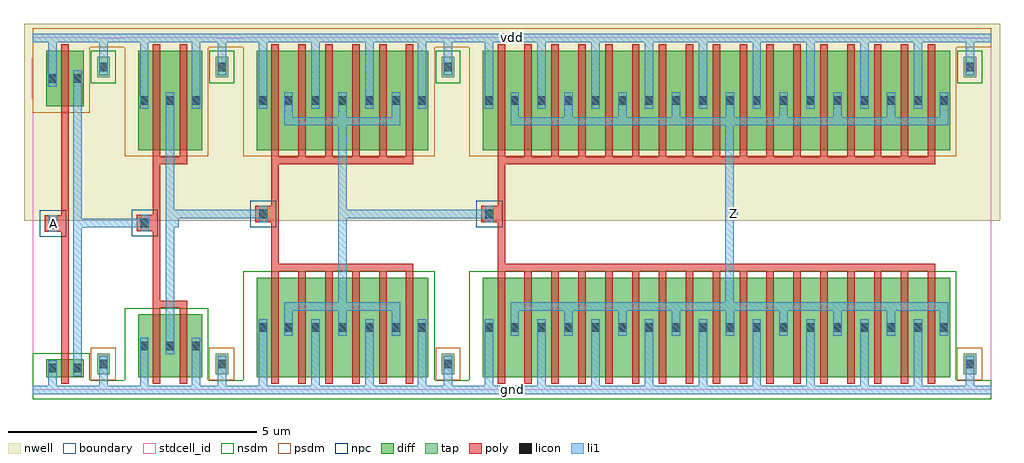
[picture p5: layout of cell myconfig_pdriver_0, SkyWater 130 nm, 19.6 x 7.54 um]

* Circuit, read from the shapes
.subckt myconfig_pdriver_0 A Z gnd vdd
XM1 myconfig_pinv_5_1/A A gnd gnd sky130_fd_pr__nfet_01v8 w=0.36 l=0.15
XM2 myconfig_pinv_6_2/A myconfig_pinv_5_1/A gnd gnd sky130_fd_pr__nfet_01v8 w=1.26 l=0.15 m=2
XM3 myconfig_pinv_7_3/A myconfig_pinv_6_2/A gnd gnd sky130_fd_pr__nfet_01v8 w=2 l=0.15 m=6
XM4 Z myconfig_pinv_7_3/A gnd gnd sky130_fd_pr__nfet_01v8 w=2 l=0.15 m=17
XM5 myconfig_pinv_5_1/A A vdd vdd sky130_fd_pr__pfet_01v8 w=1.12 l=0.15
XM6 myconfig_pinv_6_2/A myconfig_pinv_5_1/A vdd vdd sky130_fd_pr__pfet_01v8 w=2 l=0.15 m=2
XM7 myconfig_pinv_7_3/A myconfig_pinv_6_2/A vdd vdd sky130_fd_pr__pfet_01v8 w=2 l=0.15 m=6
XM8 Z myconfig_pinv_7_3/A vdd vdd sky130_fd_pr__pfet_01v8 w=2 l=0.15 m=17
.ends

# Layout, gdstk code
import gdstk
lib = gdstk.Library(unit=1e-6, precision=1e-09)
def R(c, l, rs):  # rectangles x0, y0, x1, y1
    for r in rs: c.add(gdstk.rectangle(r[:2], r[2:], *l))
def A(c, l, x, y, w, h, nx, ny, dx, dy):  # array of equal rectangles
    R(c, l, [(x+i*dx, y+j*dy, x+i*dx+w, y+j*dy+h) for i in range(nx) for j in range(ny)])
nwell = (64, 20)
diff = (65, 20)
tap = (65, 44)
poly = (66, 20)
licon = (66, 44)
li1 = (67, 20)
stdcell_id = (81, 4)
nsdm = (93, 44)
psdm = (94, 20)
npc = (95, 20)
boundary = (235, 4)

myconfig_contact_11 = lib.new_cell('myconfig_contact_11')
R(myconfig_contact_11, nwell, [(-0.295,-0.255,0.545,0.585)])
R(myconfig_contact_11, diff, [(0,0.02,0.25,0.31)])
R(myconfig_contact_11, licon, [(0.04,0.08,0.21,0.25)])
R(myconfig_contact_11, li1, [(0.04,0,0.21,0.33)])
R(myconfig_contact_11, stdcell_id, [(-0.295,-0.255,0.545,0.585)])
R(myconfig_contact_11, psdm, [(-0.125,-0.105,0.375,0.435)])
R(myconfig_contact_11, boundary, [(-0.295,-0.255,0.545,0.585)])

myconfig_pmos_m1_w1_120_ = lib.new_cell('myconfig_pmos_m1_w1_120_sli_dli_da_p')
R(myconfig_pmos_m1_w1_120_, nwell, [(-0.27,-0.27,1.02,1.39)])
R(myconfig_pmos_m1_w1_120_, diff, [(0,0,0.75,1.12)])
R(myconfig_pmos_m1_w1_120_, poly, [(0.3,-0.13,0.45,1.25), (0.3,-0.13,0.45,1.25)])
R(myconfig_pmos_m1_w1_120_, li1, [(0.04,0.395,0.21,0.725), (0.54,0.395,0.71,0.725)])
R(myconfig_pmos_m1_w1_120_, stdcell_id, [(-0.27,-0.27,1.02,1.39)])
R(myconfig_pmos_m1_w1_120_, psdm, [(-0.125,-0.125,0.875,1.245)])
R(myconfig_pmos_m1_w1_120_, boundary, [(-0.27,-0.27,1.02,1.39)])
myconfig_pmos_m1_w1_120_.add(gdstk.Reference(myconfig_contact_11, (0,0.395)))
myconfig_pmos_m1_w1_120_.add(gdstk.Reference(myconfig_contact_11, (0.5,0.395)))
myconfig_pmos_m1_w1_120_.add(gdstk.Label('G', (0.375,0.56), layer=66, texttype=5))
myconfig_pmos_m1_w1_120_.add(gdstk.Label('S', (0.125,0.56), layer=67, texttype=5))
myconfig_pmos_m1_w1_120_.add(gdstk.Label('D', (0.625,0.56), layer=67, texttype=5))

myconfig_contact_10 = lib.new_cell('myconfig_contact_10')
R(myconfig_contact_10, diff, [(0,0.02,0.25,0.31)])
R(myconfig_contact_10, licon, [(0.04,0.08,0.21,0.25)])
R(myconfig_contact_10, li1, [(0.04,0,0.21,0.33)])
R(myconfig_contact_10, stdcell_id, [(-0.125,-0.105,0.375,0.435)])
R(myconfig_contact_10, nsdm, [(-0.125,-0.105,0.375,0.435)])
R(myconfig_contact_10, boundary, [(-0.125,-0.105,0.375,0.435)])

myconfig_nmos_m1_w0_360_ = lib.new_cell('myconfig_nmos_m1_w0_360_sli_dli_da_p')
R(myconfig_nmos_m1_w0_360_, diff, [(0,0,0.75,0.36)])
R(myconfig_nmos_m1_w0_360_, poly, [(0.3,-0.13,0.45,0.49), (0.3,-0.13,0.45,0.49)])
R(myconfig_nmos_m1_w0_360_, li1, [(0.04,0.015,0.21,0.345), (0.54,0.015,0.71,0.345)])
R(myconfig_nmos_m1_w0_360_, stdcell_id, [(-0.125,-0.13,0.875,0.49)])
R(myconfig_nmos_m1_w0_360_, nsdm, [(-0.125,-0.125,0.875,0.485)])
R(myconfig_nmos_m1_w0_360_, boundary, [(-0.125,-0.13,0.875,0.49)])
myconfig_nmos_m1_w0_360_.add(gdstk.Reference(myconfig_contact_10, (0,0.015)))
myconfig_nmos_m1_w0_360_.add(gdstk.Reference(myconfig_contact_10, (0.5,0.015)))
myconfig_nmos_m1_w0_360_.add(gdstk.Label('G', (0.375,0.18), layer=66, texttype=5))
myconfig_nmos_m1_w0_360_.add(gdstk.Label('S', (0.125,0.18), layer=67, texttype=5))
myconfig_nmos_m1_w0_360_.add(gdstk.Label('D', (0.625,0.18), layer=67, texttype=5))

myconfig_contact_28 = lib.new_cell('myconfig_contact_28')
R(myconfig_contact_28, nwell, [(-0.295,-0.215,0.545,0.625)])
R(myconfig_contact_28, tap, [(0,0,0.25,0.41)])
R(myconfig_contact_28, licon, [(0.04,0.12,0.21,0.29)])
R(myconfig_contact_28, li1, [(0.04,0.04,0.21,0.37)])
R(myconfig_contact_28, stdcell_id, [(-0.295,-0.215,0.545,0.625)])
R(myconfig_contact_28, nsdm, [(-0.125,-0.125,0.375,0.535)])
R(myconfig_contact_28, boundary, [(-0.295,-0.215,0.545,0.625)])

myconfig_contact_29 = lib.new_cell('myconfig_contact_29')
R(myconfig_contact_29, tap, [(0,0,0.25,0.41)])
R(myconfig_contact_29, licon, [(0.04,0.12,0.21,0.29)])
R(myconfig_contact_29, li1, [(0.04,0.04,0.21,0.37)])
R(myconfig_contact_29, stdcell_id, [(-0.125,-0.125,0.375,0.535)])
R(myconfig_contact_29, psdm, [(-0.125,-0.125,0.375,0.535)])
R(myconfig_contact_29, boundary, [(-0.125,-0.125,0.375,0.535)])

myconfig_contact_15 = lib.new_cell('myconfig_contact_15')
R(myconfig_contact_15, poly, [(0,0,0.33,0.33)])
R(myconfig_contact_15, licon, [(0.08,0.08,0.25,0.25)])
R(myconfig_contact_15, li1, [(0.08,0,0.25,0.33)])
R(myconfig_contact_15, stdcell_id, [(-0.1,-0.1,0.43,0.43)])
R(myconfig_contact_15, npc, [(-0.1,-0.1,0.43,0.43)])
R(myconfig_contact_15, boundary, [(-0.1,-0.1,0.43,0.43)])

myconfig_pinv_4 = lib.new_cell('myconfig_pinv_4')
R(myconfig_pinv_4, nwell, [(-0.18,3.395,2.02,7.355)])
R(myconfig_pinv_4, poly, [(0.57,0.745,0.72,5.565), (0.405,3.18,0.57,3.51)])
R(myconfig_pinv_4, li1, [(0,-0.085,1.84,0.085), (0.31,-0.085,0.48,0.27), (1.33,0,1.5,0.52), (0.81,0.27,0.98,6.42), (0.32,3.18,0.49,3.51), (0.895,3.26,1.065,3.43), (0.31,6.09,0.48,7.155), (1.33,6.485,1.5,7.07), (0,6.985,1.84,7.155)])
R(myconfig_pinv_4, stdcell_id, [(0,0,1.84,7.07), (0,0,1.84,7.07)])
R(myconfig_pinv_4, nsdm, [(0,-0.19,1.84,0.19), (0,0,1.145,0.74)])
R(myconfig_pinv_4, psdm, [(0,5.57,1.145,7.07), (0,6.88,1.84,7.26)])
R(myconfig_pinv_4, boundary, [(0,0,1.84,7.07), (0,0,1.84,7.07)])
myconfig_pinv_4.add(gdstk.Reference(myconfig_pmos_m1_w1_120_, (0.27,5.695)))
myconfig_pinv_4.add(gdstk.Reference(myconfig_nmos_m1_w0_360_, (0.27,0.255)))
myconfig_pinv_4.add(gdstk.Reference(myconfig_contact_28, (1.29,6.28)))
myconfig_pinv_4.add(gdstk.Reference(myconfig_contact_29, (1.29,0.315)))
myconfig_pinv_4.add(gdstk.Reference(myconfig_contact_15, (0.24,3.18)))
myconfig_pinv_4.add(gdstk.Label('A', (0.405,3.345), layer=67, texttype=5))
myconfig_pinv_4.add(gdstk.Label('Z', (0.98,3.345), layer=67, texttype=5))
myconfig_pinv_4.add(gdstk.Label('gnd', (0.92,0), layer=67, texttype=5))
myconfig_pinv_4.add(gdstk.Label('vdd', (0.92,7.07), layer=67, texttype=5))

myconfig_pmos_m2_w2_000_ = lib.new_cell('myconfig_pmos_m2_w2_000_sli_dli_da_p')
R(myconfig_pmos_m2_w2_000_, nwell, [(-0.27,-0.27,1.56,2.27)])
R(myconfig_pmos_m2_w2_000_, diff, [(0,0,1.29,2)])
R(myconfig_pmos_m2_w2_000_, poly, [(0.3,-0.28,0.99,-0.13), (0.3,-0.13,0.45,2.13), (0.84,-0.13,0.99,2.13)])
A(myconfig_pmos_m2_w2_000_, li1, 0.04, 0.835, 0.17, 0.33, 3, 1, 0.52, 0)
R(myconfig_pmos_m2_w2_000_, stdcell_id, [(-0.27,-0.28,1.56,2.27)])
R(myconfig_pmos_m2_w2_000_, psdm, [(-0.125,-0.125,1.415,2.125)])
R(myconfig_pmos_m2_w2_000_, boundary, [(-0.27,-0.28,1.56,2.27)])
myconfig_pmos_m2_w2_000_.add(gdstk.Reference(myconfig_contact_11, (0,0.835)))
myconfig_pmos_m2_w2_000_.add(gdstk.Reference(myconfig_contact_11, (0.52,0.835)))
myconfig_pmos_m2_w2_000_.add(gdstk.Reference(myconfig_contact_11, (1.04,0.835)))
myconfig_pmos_m2_w2_000_.add(gdstk.Label('G', (0.645,-0.205), layer=66, texttype=5))
myconfig_pmos_m2_w2_000_.add(gdstk.Label('S', (0.125,1), layer=67, texttype=5))
myconfig_pmos_m2_w2_000_.add(gdstk.Label('S', (1.165,1), layer=67, texttype=5))
myconfig_pmos_m2_w2_000_.add(gdstk.Label('D', (0.645,1), layer=67, texttype=5))

myconfig_nmos_m2_w1_260_ = lib.new_cell('myconfig_nmos_m2_w1_260_sli_dli_da_p')
R(myconfig_nmos_m2_w1_260_, diff, [(0,0,1.29,1.26)])
R(myconfig_nmos_m2_w1_260_, poly, [(0.3,-0.13,0.45,1.39), (0.84,-0.13,0.99,1.39), (0.3,1.39,0.99,1.54)])
A(myconfig_nmos_m2_w1_260_, li1, 0.04, 0.465, 0.17, 0.33, 3, 1, 0.52, 0)
R(myconfig_nmos_m2_w1_260_, stdcell_id, [(-0.125,-0.13,1.415,1.54)])
R(myconfig_nmos_m2_w1_260_, nsdm, [(-0.125,-0.125,1.415,1.385)])
R(myconfig_nmos_m2_w1_260_, boundary, [(-0.125,-0.13,1.415,1.54)])
myconfig_nmos_m2_w1_260_.add(gdstk.Reference(myconfig_contact_10, (0,0.465)))
myconfig_nmos_m2_w1_260_.add(gdstk.Reference(myconfig_contact_10, (0.52,0.465)))
myconfig_nmos_m2_w1_260_.add(gdstk.Reference(myconfig_contact_10, (1.04,0.465)))
myconfig_nmos_m2_w1_260_.add(gdstk.Label('G', (0.645,1.465), layer=66, texttype=5))
myconfig_nmos_m2_w1_260_.add(gdstk.Label('S', (1.165,0.63), layer=67, texttype=5))
myconfig_nmos_m2_w1_260_.add(gdstk.Label('S', (0.125,0.63), layer=67, texttype=5))
myconfig_nmos_m2_w1_260_.add(gdstk.Label('D', (0.645,0.63), layer=67, texttype=5))

myconfig_pinv_5 = lib.new_cell('myconfig_pinv_5')
R(myconfig_pinv_5, nwell, [(-0.18,3.395,2.56,7.355)])
R(myconfig_pinv_5, poly, [(0.57,1.795,0.72,4.535), (0.405,3.185,0.57,3.515)])
R(myconfig_pinv_5, li1, [(0,-0.085,2.38,0.085), (0.31,-0.085,0.48,0.72), (1.35,-0.085,1.52,0.72), (1.87,0,2.04,0.52), (0.83,0.72,1,5.98), (0.32,3.185,0.49,3.515), (0.915,3.265,1.085,3.435), (0.31,5.65,0.48,7.155), (1.35,5.65,1.52,7.155), (1.87,6.485,2.04,7.07), (0,6.985,2.38,7.155)])
R(myconfig_pinv_5, stdcell_id, [(0,0,2.38,7.07), (0,0,2.38,7.07)])
R(myconfig_pinv_5, nsdm, [(0,-0.19,2.38,0.19), (0,0,1.685,1.64)])
R(myconfig_pinv_5, psdm, [(0,4.69,1.685,7.07), (0,6.88,2.38,7.26)])
R(myconfig_pinv_5, boundary, [(0,0,2.38,7.07), (0,0,2.38,7.07)])
myconfig_pinv_5.add(gdstk.Reference(myconfig_pmos_m2_w2_000_, (0.27,4.815)))
myconfig_pinv_5.add(gdstk.Reference(myconfig_nmos_m2_w1_260_, (0.27,0.255)))
myconfig_pinv_5.add(gdstk.Reference(myconfig_contact_28, (1.83,6.28)))
myconfig_pinv_5.add(gdstk.Reference(myconfig_contact_29, (1.83,0.315)))
myconfig_pinv_5.add(gdstk.Reference(myconfig_contact_15, (0.24,3.185)))
myconfig_pinv_5.add(gdstk.Label('A', (0.405,3.35), layer=67, texttype=5))
myconfig_pinv_5.add(gdstk.Label('Z', (1,3.35), layer=67, texttype=5))
myconfig_pinv_5.add(gdstk.Label('gnd', (1.19,0), layer=67, texttype=5))
myconfig_pinv_5.add(gdstk.Label('vdd', (1.19,7.07), layer=67, texttype=5))

myconfig_pmos_m6_w2_000_ = lib.new_cell('myconfig_pmos_m6_w2_000_sli_dli_da_p')
R(myconfig_pmos_m6_w2_000_, nwell, [(-0.27,-0.27,3.72,2.27)])
R(myconfig_pmos_m6_w2_000_, diff, [(0,0,3.45,2)])
A(myconfig_pmos_m6_w2_000_, poly, 0.3, -0.13, 0.15, 2.26, 6, 1, 0.54, 0)
R(myconfig_pmos_m6_w2_000_, poly, [(0.3,-0.28,3.15,-0.13)])
A(myconfig_pmos_m6_w2_000_, li1, 0.56, 0.58, 0.17, 0.42, 3, 1, 1.08, 0)
R(myconfig_pmos_m6_w2_000_, li1, [(0.56,0.495,2.89,0.665), (0.04,0.835,0.21,1.165), (1.1,0.835,1.27,1.165), (2.18,0.835,2.35,1.165), (3.24,0.835,3.41,1.165)])
R(myconfig_pmos_m6_w2_000_, stdcell_id, [(-0.27,-0.28,3.72,2.27)])
R(myconfig_pmos_m6_w2_000_, psdm, [(-0.125,-0.125,3.575,2.125)])
R(myconfig_pmos_m6_w2_000_, boundary, [(-0.27,-0.28,3.72,2.27)])
myconfig_pmos_m6_w2_000_.add(gdstk.Reference(myconfig_contact_11, (0,0.835)))
myconfig_pmos_m6_w2_000_.add(gdstk.Reference(myconfig_contact_11, (0.52,0.835)))
myconfig_pmos_m6_w2_000_.add(gdstk.Reference(myconfig_contact_11, (1.06,0.835)))
myconfig_pmos_m6_w2_000_.add(gdstk.Reference(myconfig_contact_11, (1.6,0.835)))
myconfig_pmos_m6_w2_000_.add(gdstk.Reference(myconfig_contact_11, (2.14,0.835)))
myconfig_pmos_m6_w2_000_.add(gdstk.Reference(myconfig_contact_11, (2.68,0.835)))
myconfig_pmos_m6_w2_000_.add(gdstk.Reference(myconfig_contact_11, (3.2,0.835)))
myconfig_pmos_m6_w2_000_.add(gdstk.Label('G', (1.725,-0.205), layer=66, texttype=5))
myconfig_pmos_m6_w2_000_.add(gdstk.Label('S', (3.325,1), layer=67, texttype=5))
myconfig_pmos_m6_w2_000_.add(gdstk.Label('S', (0.125,1), layer=67, texttype=5))
myconfig_pmos_m6_w2_000_.add(gdstk.Label('S', (2.265,1), layer=67, texttype=5))
myconfig_pmos_m6_w2_000_.add(gdstk.Label('S', (1.185,1), layer=67, texttype=5))
myconfig_pmos_m6_w2_000_.add(gdstk.Label('D', (1.725,0.58), layer=67, texttype=5))

myconfig_nmos_m6_w2_000_ = lib.new_cell('myconfig_nmos_m6_w2_000_sli_dli_da_p')
R(myconfig_nmos_m6_w2_000_, diff, [(0,0,3.45,2)])
A(myconfig_nmos_m6_w2_000_, poly, 0.3, -0.13, 0.15, 2.26, 6, 1, 0.54, 0)
R(myconfig_nmos_m6_w2_000_, poly, [(0.3,2.13,3.15,2.28)])
A(myconfig_nmos_m6_w2_000_, li1, 0.56, 1, 0.17, 0.42, 3, 1, 1.08, 0)
R(myconfig_nmos_m6_w2_000_, li1, [(0.04,0.835,0.21,1.165), (1.1,0.835,1.27,1.165), (2.18,0.835,2.35,1.165), (3.24,0.835,3.41,1.165), (0.56,1.335,2.89,1.505)])
R(myconfig_nmos_m6_w2_000_, stdcell_id, [(-0.125,-0.13,3.575,2.28)])
R(myconfig_nmos_m6_w2_000_, nsdm, [(-0.125,-0.125,3.575,2.125)])
R(myconfig_nmos_m6_w2_000_, boundary, [(-0.125,-0.13,3.575,2.28)])
myconfig_nmos_m6_w2_000_.add(gdstk.Reference(myconfig_contact_10, (0,0.835)))
myconfig_nmos_m6_w2_000_.add(gdstk.Reference(myconfig_contact_10, (0.52,0.835)))
myconfig_nmos_m6_w2_000_.add(gdstk.Reference(myconfig_contact_10, (1.06,0.835)))
myconfig_nmos_m6_w2_000_.add(gdstk.Reference(myconfig_contact_10, (1.6,0.835)))
myconfig_nmos_m6_w2_000_.add(gdstk.Reference(myconfig_contact_10, (2.14,0.835)))
myconfig_nmos_m6_w2_000_.add(gdstk.Reference(myconfig_contact_10, (2.68,0.835)))
myconfig_nmos_m6_w2_000_.add(gdstk.Reference(myconfig_contact_10, (3.2,0.835)))
myconfig_nmos_m6_w2_000_.add(gdstk.Label('G', (1.725,2.205), layer=66, texttype=5))
myconfig_nmos_m6_w2_000_.add(gdstk.Label('S', (3.325,1), layer=67, texttype=5))
myconfig_nmos_m6_w2_000_.add(gdstk.Label('S', (0.125,1), layer=67, texttype=5))
myconfig_nmos_m6_w2_000_.add(gdstk.Label('S', (2.265,1), layer=67, texttype=5))
myconfig_nmos_m6_w2_000_.add(gdstk.Label('S', (1.185,1), layer=67, texttype=5))
myconfig_nmos_m6_w2_000_.add(gdstk.Label('D', (1.725,1.42), layer=67, texttype=5))

myconfig_pinv_6 = lib.new_cell('myconfig_pinv_6')
R(myconfig_pinv_6, nwell, [(-0.18,3.395,4.72,7.355)])
R(myconfig_pinv_6, poly, [(0.57,2.535,0.72,4.535), (0.405,3.37,0.57,3.7)])
R(myconfig_pinv_6, li1, [(0,-0.085,4.54,0.085), (0.31,-0.085,0.48,1.09), (1.37,-0.085,1.54,1.09), (2.45,-0.085,2.62,1.09), (3.51,-0.085,3.68,1.09), (4.03,0,4.2,0.52), (1.91,1.59,2.08,5.48), (0.32,3.37,0.49,3.7), (1.995,3.45,2.165,3.62), (0.31,5.65,0.48,7.155), (1.37,5.65,1.54,7.155), (2.45,5.65,2.62,7.155), (3.51,5.65,3.68,7.155), (4.03,6.485,4.2,7.07), (0,6.985,4.54,7.155)])
R(myconfig_pinv_6, stdcell_id, [(0,0,4.54,7.07), (0,0,4.54,7.07)])
R(myconfig_pinv_6, nsdm, [(0,-0.19,4.54,0.19), (0,0,3.845,2.38)])
R(myconfig_pinv_6, psdm, [(0,4.69,3.845,7.07), (0,6.88,4.54,7.26)])
R(myconfig_pinv_6, boundary, [(0,0,4.54,7.07), (0,0,4.54,7.07)])
myconfig_pinv_6.add(gdstk.Reference(myconfig_pmos_m6_w2_000_, (0.27,4.815)))
myconfig_pinv_6.add(gdstk.Reference(myconfig_nmos_m6_w2_000_, (0.27,0.255)))
myconfig_pinv_6.add(gdstk.Reference(myconfig_contact_28, (3.99,6.28)))
myconfig_pinv_6.add(gdstk.Reference(myconfig_contact_29, (3.99,0.315)))
myconfig_pinv_6.add(gdstk.Reference(myconfig_contact_15, (0.24,3.37)))
myconfig_pinv_6.add(gdstk.Label('A', (0.405,3.535), layer=67, texttype=5))
myconfig_pinv_6.add(gdstk.Label('Z', (2.08,3.535), layer=67, texttype=5))
myconfig_pinv_6.add(gdstk.Label('gnd', (2.27,0), layer=67, texttype=5))
myconfig_pinv_6.add(gdstk.Label('vdd', (2.27,7.07), layer=67, texttype=5))

myconfig_pmos_m17_w2_000 = lib.new_cell('myconfig_pmos_m17_w2_000_sli_dli_da_p')
R(myconfig_pmos_m17_w2_000, nwell, [(-0.27,-0.27,9.66,2.27)])
R(myconfig_pmos_m17_w2_000, diff, [(0,0,9.39,2)])
A(myconfig_pmos_m17_w2_000, poly, 0.3, -0.13, 0.15, 2.26, 17, 1, 0.54, 0)
R(myconfig_pmos_m17_w2_000, poly, [(0.3,-0.28,9.09,-0.13)])
A(myconfig_pmos_m17_w2_000, li1, 0.56, 0.58, 0.17, 0.42, 8, 1, 1.08, 0)
A(myconfig_pmos_m17_w2_000, li1, 1.1, 0.835, 0.17, 0.33, 8, 1, 1.08, 0)
R(myconfig_pmos_m17_w2_000, li1, [(0.56,0.495,9.35,0.665), (9.18,0.58,9.35,1), (0.04,0.835,0.21,1.165)])
R(myconfig_pmos_m17_w2_000, stdcell_id, [(-0.27,-0.28,9.66,2.27)])
R(myconfig_pmos_m17_w2_000, psdm, [(-0.125,-0.125,9.515,2.125)])
R(myconfig_pmos_m17_w2_000, boundary, [(-0.27,-0.28,9.66,2.27)])
myconfig_pmos_m17_w2_000.add(gdstk.Reference(myconfig_contact_11, (0,0.835)))
myconfig_pmos_m17_w2_000.add(gdstk.Reference(myconfig_contact_11, (0.52,0.835)))
myconfig_pmos_m17_w2_000.add(gdstk.Reference(myconfig_contact_11, (1.06,0.835)))
myconfig_pmos_m17_w2_000.add(gdstk.Reference(myconfig_contact_11, (1.6,0.835)))
myconfig_pmos_m17_w2_000.add(gdstk.Reference(myconfig_contact_11, (2.14,0.835)))
myconfig_pmos_m17_w2_000.add(gdstk.Reference(myconfig_contact_11, (2.68,0.835)))
myconfig_pmos_m17_w2_000.add(gdstk.Reference(myconfig_contact_11, (3.22,0.835)))
myconfig_pmos_m17_w2_000.add(gdstk.Reference(myconfig_contact_11, (3.76,0.835)))
myconfig_pmos_m17_w2_000.add(gdstk.Reference(myconfig_contact_11, (4.3,0.835)))
myconfig_pmos_m17_w2_000.add(gdstk.Reference(myconfig_contact_11, (4.84,0.835)))
myconfig_pmos_m17_w2_000.add(gdstk.Reference(myconfig_contact_11, (5.38,0.835)))
myconfig_pmos_m17_w2_000.add(gdstk.Reference(myconfig_contact_11, (5.92,0.835)))
myconfig_pmos_m17_w2_000.add(gdstk.Reference(myconfig_contact_11, (6.46,0.835)))
myconfig_pmos_m17_w2_000.add(gdstk.Reference(myconfig_contact_11, (7,0.835)))
myconfig_pmos_m17_w2_000.add(gdstk.Reference(myconfig_contact_11, (7.54,0.835)))
myconfig_pmos_m17_w2_000.add(gdstk.Reference(myconfig_contact_11, (8.08,0.835)))
myconfig_pmos_m17_w2_000.add(gdstk.Reference(myconfig_contact_11, (8.62,0.835)))
myconfig_pmos_m17_w2_000.add(gdstk.Reference(myconfig_contact_11, (9.14,0.835)))
myconfig_pmos_m17_w2_000.add(gdstk.Label('G', (4.695,-0.205), layer=66, texttype=5))
myconfig_pmos_m17_w2_000.add(gdstk.Label('S', (8.745,1), layer=67, texttype=5))
myconfig_pmos_m17_w2_000.add(gdstk.Label('S', (6.585,1), layer=67, texttype=5))
myconfig_pmos_m17_w2_000.add(gdstk.Label('S', (1.185,1), layer=67, texttype=5))
myconfig_pmos_m17_w2_000.add(gdstk.Label('S', (4.425,1), layer=67, texttype=5))
myconfig_pmos_m17_w2_000.add(gdstk.Label('S', (5.505,1), layer=67, texttype=5))
myconfig_pmos_m17_w2_000.add(gdstk.Label('S', (0.125,1), layer=67, texttype=5))
myconfig_pmos_m17_w2_000.add(gdstk.Label('S', (3.345,1), layer=67, texttype=5))
myconfig_pmos_m17_w2_000.add(gdstk.Label('S', (7.665,1), layer=67, texttype=5))
myconfig_pmos_m17_w2_000.add(gdstk.Label('S', (2.265,1), layer=67, texttype=5))
myconfig_pmos_m17_w2_000.add(gdstk.Label('D', (4.955,0.58), layer=67, texttype=5))

myconfig_nmos_m17_w2_000 = lib.new_cell('myconfig_nmos_m17_w2_000_sli_dli_da_p')
R(myconfig_nmos_m17_w2_000, diff, [(0,0,9.39,2)])
A(myconfig_nmos_m17_w2_000, poly, 0.3, -0.13, 0.15, 2.26, 17, 1, 0.54, 0)
R(myconfig_nmos_m17_w2_000, poly, [(0.3,2.13,9.09,2.28)])
A(myconfig_nmos_m17_w2_000, li1, 1.1, 0.835, 0.17, 0.33, 8, 1, 1.08, 0)
A(myconfig_nmos_m17_w2_000, li1, 0.56, 1, 0.17, 0.42, 8, 1, 1.08, 0)
R(myconfig_nmos_m17_w2_000, li1, [(0.04,0.835,0.21,1.165), (9.18,1,9.35,1.42), (0.56,1.335,9.35,1.505)])
R(myconfig_nmos_m17_w2_000, stdcell_id, [(-0.125,-0.13,9.515,2.28)])
R(myconfig_nmos_m17_w2_000, nsdm, [(-0.125,-0.125,9.515,2.125)])
R(myconfig_nmos_m17_w2_000, boundary, [(-0.125,-0.13,9.515,2.28)])
myconfig_nmos_m17_w2_000.add(gdstk.Reference(myconfig_contact_10, (0,0.835)))
myconfig_nmos_m17_w2_000.add(gdstk.Reference(myconfig_contact_10, (0.52,0.835)))
myconfig_nmos_m17_w2_000.add(gdstk.Reference(myconfig_contact_10, (1.06,0.835)))
myconfig_nmos_m17_w2_000.add(gdstk.Reference(myconfig_contact_10, (1.6,0.835)))
myconfig_nmos_m17_w2_000.add(gdstk.Reference(myconfig_contact_10, (2.14,0.835)))
myconfig_nmos_m17_w2_000.add(gdstk.Reference(myconfig_contact_10, (2.68,0.835)))
myconfig_nmos_m17_w2_000.add(gdstk.Reference(myconfig_contact_10, (3.22,0.835)))
myconfig_nmos_m17_w2_000.add(gdstk.Reference(myconfig_contact_10, (3.76,0.835)))
myconfig_nmos_m17_w2_000.add(gdstk.Reference(myconfig_contact_10, (4.3,0.835)))
myconfig_nmos_m17_w2_000.add(gdstk.Reference(myconfig_contact_10, (4.84,0.835)))
myconfig_nmos_m17_w2_000.add(gdstk.Reference(myconfig_contact_10, (5.38,0.835)))
myconfig_nmos_m17_w2_000.add(gdstk.Reference(myconfig_contact_10, (5.92,0.835)))
myconfig_nmos_m17_w2_000.add(gdstk.Reference(myconfig_contact_10, (6.46,0.835)))
myconfig_nmos_m17_w2_000.add(gdstk.Reference(myconfig_contact_10, (7,0.835)))
myconfig_nmos_m17_w2_000.add(gdstk.Reference(myconfig_contact_10, (7.54,0.835)))
myconfig_nmos_m17_w2_000.add(gdstk.Reference(myconfig_contact_10, (8.08,0.835)))
myconfig_nmos_m17_w2_000.add(gdstk.Reference(myconfig_contact_10, (8.62,0.835)))
myconfig_nmos_m17_w2_000.add(gdstk.Reference(myconfig_contact_10, (9.14,0.835)))
myconfig_nmos_m17_w2_000.add(gdstk.Label('G', (4.695,2.205), layer=66, texttype=5))
myconfig_nmos_m17_w2_000.add(gdstk.Label('S', (8.745,1), layer=67, texttype=5))
myconfig_nmos_m17_w2_000.add(gdstk.Label('S', (6.585,1), layer=67, texttype=5))
myconfig_nmos_m17_w2_000.add(gdstk.Label('S', (1.185,1), layer=67, texttype=5))
myconfig_nmos_m17_w2_000.add(gdstk.Label('S', (4.425,1), layer=67, texttype=5))
myconfig_nmos_m17_w2_000.add(gdstk.Label('S', (5.505,1), layer=67, texttype=5))
myconfig_nmos_m17_w2_000.add(gdstk.Label('S', (0.125,1), layer=67, texttype=5))
myconfig_nmos_m17_w2_000.add(gdstk.Label('S', (3.345,1), layer=67, texttype=5))
myconfig_nmos_m17_w2_000.add(gdstk.Label('S', (7.665,1), layer=67, texttype=5))
myconfig_nmos_m17_w2_000.add(gdstk.Label('S', (2.265,1), layer=67, texttype=5))
myconfig_nmos_m17_w2_000.add(gdstk.Label('D', (4.955,1.42), layer=67, texttype=5))

myconfig_pinv_7 = lib.new_cell('myconfig_pinv_7')
R(myconfig_pinv_7, nwell, [(-0.18,3.395,10.66,7.355)])
R(myconfig_pinv_7, poly, [(0.57,2.535,0.72,4.535), (0.405,3.37,0.57,3.7)])
A(myconfig_pinv_7, li1, 1.37, -0.085, 0.17, 1.175, 8, 1, 1.08, 0)
A(myconfig_pinv_7, li1, 1.37, 5.65, 0.17, 1.505, 8, 1, 1.08, 0)
R(myconfig_pinv_7, li1, [(0,-0.085,10.48,0.085), (0.31,-0.085,0.48,1.09), (9.97,0,10.14,0.52), (5.14,1.59,5.31,5.48), (0.32,3.37,0.49,3.7), (5.225,3.45,5.395,3.62), (0.31,5.65,0.48,7.155), (9.97,6.485,10.14,7.07), (0,6.985,10.48,7.155)])
R(myconfig_pinv_7, stdcell_id, [(0,0,10.48,7.07), (0,0,10.48,7.07)])
R(myconfig_pinv_7, nsdm, [(0,-0.19,10.48,0.19), (0,0,9.785,2.38)])
R(myconfig_pinv_7, psdm, [(0,4.69,9.785,7.07), (0,6.88,10.48,7.26)])
R(myconfig_pinv_7, boundary, [(0,0,10.48,7.07), (0,0,10.48,7.07)])
myconfig_pinv_7.add(gdstk.Reference(myconfig_pmos_m17_w2_000, (0.27,4.815)))
myconfig_pinv_7.add(gdstk.Reference(myconfig_nmos_m17_w2_000, (0.27,0.255)))
myconfig_pinv_7.add(gdstk.Reference(myconfig_contact_28, (9.93,6.28)))
myconfig_pinv_7.add(gdstk.Reference(myconfig_contact_29, (9.93,0.315)))
myconfig_pinv_7.add(gdstk.Reference(myconfig_contact_15, (0.24,3.37)))
myconfig_pinv_7.add(gdstk.Label('A', (0.405,3.535), layer=67, texttype=5))
myconfig_pinv_7.add(gdstk.Label('Z', (5.31,3.535), layer=67, texttype=5))
myconfig_pinv_7.add(gdstk.Label('gnd', (5.24,0), layer=67, texttype=5))
myconfig_pinv_7.add(gdstk.Label('vdd', (5.24,7.07), layer=67, texttype=5))

myconfig_pdriver_0 = lib.new_cell('myconfig_pdriver_0')
R(myconfig_pdriver_0, nwell, [(-0.18,3.395,19.42,7.355)])
R(myconfig_pdriver_0, li1, [(0,-0.085,19.24,0.085), (0.32,3.18,0.49,3.51), (0.895,3.265,1.065,3.435), (0.98,3.265,2.245,3.435), (0.895,3.345,1.065,3.35), (2.755,3.35,2.925,3.535), (2.755,3.45,2.925,3.62), (2.84,3.45,4.625,3.62), (6.3,3.45,9.165,3.62), (13.985,3.45,14.155,3.62), (0,6.985,19.24,7.155)])
R(myconfig_pdriver_0, stdcell_id, [(0,0,19.24,7.07), (0,0,19.24,7.07)])
R(myconfig_pdriver_0, nsdm, [(0,-0.19,19.24,0.19)])
R(myconfig_pdriver_0, psdm, [(0,6.88,19.24,7.26)])
R(myconfig_pdriver_0, boundary, [(0,0,19.24,7.07), (0,0,19.24,7.07)])
myconfig_pdriver_0.add(gdstk.Reference(myconfig_pinv_4, (0,0)))
myconfig_pdriver_0.add(gdstk.Reference(myconfig_pinv_5, (1.84,0)))
myconfig_pdriver_0.add(gdstk.Reference(myconfig_pinv_6, (4.22,0)))
myconfig_pdriver_0.add(gdstk.Reference(myconfig_pinv_7, (8.76,0)))
myconfig_pdriver_0.add(gdstk.Label('Z', (14.07,3.535), layer=67, texttype=5))
myconfig_pdriver_0.add(gdstk.Label('A', (0.405,3.345), layer=67, texttype=5))
myconfig_pdriver_0.add(gdstk.Label('gnd', (9.62,0), layer=67, texttype=5))
myconfig_pdriver_0.add(gdstk.Label('vdd', (9.62,7.07), layer=67, texttype=5))

lib.write_gds('myconfig_pdriver_0.gds')
